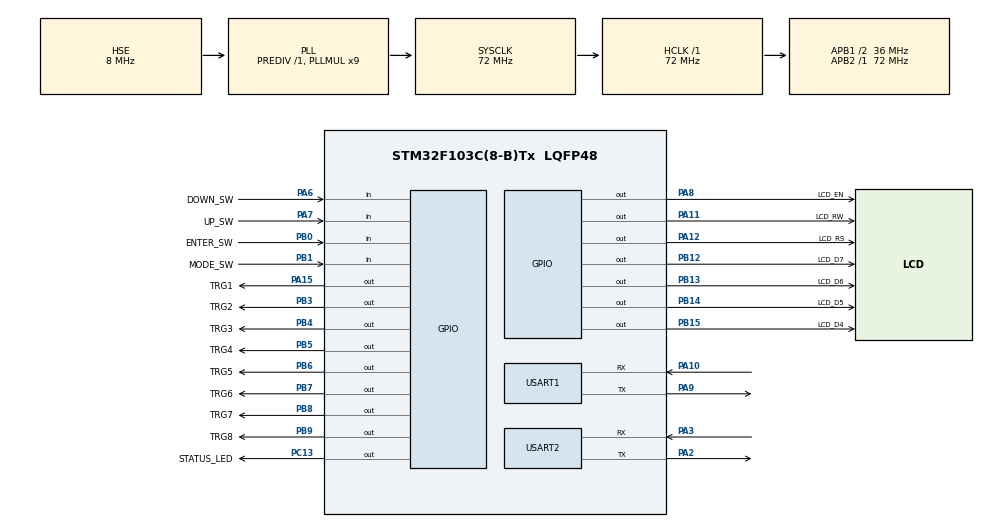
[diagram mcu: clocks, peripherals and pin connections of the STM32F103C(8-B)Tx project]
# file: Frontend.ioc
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FREERTOS.Queues01=keyQueue,16,uint8_t,0,Dynamic,NULL,NULL
FREERTOS.Tasks01=ApplicationTask,0,512,applicationTask,Default,NULL,Dynamic,NULL,NULL;seriaTask,-3,128,SerialTask,Default,NULL,Dynamic,NULL,NULL;KeyTask,-3,128,keyProc,Default,NULL,Dynamic,NULL,NULL
FREERTOS.Timers01=opLedTimer,opLedCb,osTimerPeriodic,Default,NULL,Dynamic,NULL
FREERTOS.configCHECK_FOR_STACK_OVERFLOW=2
FREERTOS.configMINIMAL_STACK_SIZE=128
FREERTOS.configTOTAL_HEAP_SIZE=10240
FREERTOS.configUSE_NEWLIB_REENTRANT=1
FREERTOS.configUSE_TIMERS=1
IWDG.Prescaler=IWDG_PRESCALER_16
Mcu.Family=STM32F1
Mcu.Name=STM32F103C(8-B)Tx
Mcu.Package=LQFP48
NVIC.PriorityGroup=NVIC_PRIORITYGROUP_4
NVIC.TIM4_IRQn=true\:15\:0\:false\:false\:true\:false\:false\:true\:true
NVIC.TimeBase=TIM4_IRQn
NVIC.TimeBaseIP=TIM4
NVIC.USART1_IRQn=true\:5\:0\:false\:false\:true\:true\:true\:true\:true
PA10.Mode=Asynchronous
PA10.Signal=USART1_RX
PA11.GPIO_Label=LCD_RW
PA11.Signal=GPIO_Output
PA12.GPIO_Label=LCD_RS
PA12.Signal=GPIO_Output
PA13.Mode=Serial_Wire
PA13.Signal=SYS_JTMS-SWDIO
PA14.Mode=Serial_Wire
PA14.Signal=SYS_JTCK-SWCLK
PA15.GPIO_Label=TRG1
PA15.Signal=GPIO_Output
PA2.Mode=Asynchronous
PA2.Signal=USART2_TX
PA3.Mode=Asynchronous
PA3.Signal=USART2_RX
PA6.GPIO_Label=DOWN_SW
PA6.Signal=GPIO_Input
PA7.GPIO_Label=UP_SW
PA7.Signal=GPIO_Input
PA8.GPIO_Label=LCD_EN
PA8.Signal=GPIO_Output
PA9.Mode=Asynchronous
PA9.Signal=USART1_TX
PB0.GPIO_Label=ENTER_SW
PB0.Signal=GPIO_Input
PB1.GPIO_Label=MODE_SW
PB1.Signal=GPIO_Input
PB12.GPIO_Label=LCD_D7
PB12.Signal=GPIO_Output
PB13.GPIO_Label=LCD_D6
PB13.Signal=GPIO_Output
PB14.GPIO_Label=LCD_D5
PB14.Signal=GPIO_Output
PB15.GPIO_Label=LCD_D4
PB15.Signal=GPIO_Output
PB3.GPIO_Label=TRG2
PB3.Signal=GPIO_Output
PB4.GPIO_Label=TRG3
PB4.Signal=GPIO_Output
PB5.GPIO_Label=TRG4
PB5.Signal=GPIO_Output
PB6.GPIO_Label=TRG5
PB6.Signal=GPIO_Output
PB7.GPIO_Label=TRG6
PB7.Signal=GPIO_Output
PB8.GPIO_Label=TRG7
PB8.Signal=GPIO_Output
PB9.GPIO_Label=TRG8
PB9.Signal=GPIO_Output
PC13-TAMPER-RTC.GPIO_Label=STATUS_LED
PC13-TAMPER-RTC.Signal=GPIO_Output
PD0-OSC_IN.Mode=HSE-External-Oscillator
PD0-OSC_IN.Signal=RCC_OSC_IN
PD1-OSC_OUT.Mode=HSE-External-Oscillator
PD1-OSC_OUT.Signal=RCC_OSC_OUT
ProjectManager.HeapSize=0x200
ProjectManager.StackSize=0x400
ProjectManager.TargetToolchain=STM32CubeIDE
RCC.AHBFreq_Value=72000000
RCC.APB1CLKDivider=RCC_HCLK_DIV2
RCC.APB1Freq_Value=36000000
RCC.APB1TimFreq_Value=72000000
RCC.APB2Freq_Value=72000000
RCC.APB2TimFreq_Value=72000000
RCC.HCLKFreq_Value=72000000
RCC.PLLMUL=RCC_PLL_MUL9
RCC.PLLSourceVirtual=RCC_PLLSOURCE_HSE
RCC.SYSCLKFreq_VALUE=72000000
RCC.SYSCLKSource=RCC_SYSCLKSOURCE_PLLCLK
RCC.USBFreq_Value=72000000
USART1.VirtualMode=VM_ASYNC
USART2.VirtualMode=VM_ASYNC
VP_FREERTOS_VS_CMSIS_V1.Mode=CMSIS_V1
VP_IWDG_VS_IWDG.Mode=IWDG_Activate
VP_SYS_VS_tim4.Mode=TIM4
board=custom

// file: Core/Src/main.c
/* USER CODE BEGIN Header */
/**
  ******************************************************************************
  * @file           : main.c
  * @brief          : Main program body
  ******************************************************************************
  * @attention
  *
  * Copyright (c) 2025 STMicroelectronics.
  * All rights reserved.
  *
  * This software is licensed under terms that can be found in the LICENSE file
  * in the root directory of this software component.
  * If no LICENSE file comes with this software, it is provided AS-IS.
  *
  ******************************************************************************
  */
/* USER CODE END Header */
#include "main.h"
#include "cmsis_os.h"

/* USER CODE BEGIN Includes */
#include "lcd.h"
#include "screen.h"
#include "trigger.h"
#include "uart.h"
#include "app_config.h"
/* USER CODE END Includes */

/* USER CODE BEGIN PTD */
typedef  void (*pFunction)(void);

/* USER CODE END PTD */

/* USER CODE BEGIN PD */
#define COMPUTE_BUILD_YEAR \
    ( \
        (__DATE__[ 7] - '0') * 1000 + \
        (__DATE__[ 8] - '0') *  100 + \
        (__DATE__[ 9] - '0') *   10 + \
        (__DATE__[10] - '0') \
    )

#define COMPUTE_BUILD_DAY \
    ( \
        ((__DATE__[4] >= '0') ? (__DATE__[4] - '0') * 10 : 0) + \
        (__DATE__[5] - '0') \
    )

#define BUILD_MONTH_IS_JAN (__DATE__[0] == 'J' && __DATE__[1] == 'a' && __DATE__[2] == 'n')
#define BUILD_MONTH_IS_FEB (__DATE__[0] == 'F')
#define BUILD_MONTH_IS_MAR (__DATE__[0] == 'M' && __DATE__[1] == 'a' && __DATE__[2] == 'r')
#define BUILD_MONTH_IS_APR (__DATE__[0] == 'A' && __DATE__[1] == 'p')
#define BUILD_MONTH_IS_MAY (__DATE__[0] == 'M' && __DATE__[1] == 'a' && __DATE__[2] == 'y')
#define BUILD_MONTH_IS_JUN (__DATE__[0] == 'J' && __DATE__[1] == 'u' && __DATE__[2] == 'n')
#define BUILD_MONTH_IS_JUL (__DATE__[0] == 'J' && __DATE__[1] == 'u' && __DATE__[2] == 'l')
#define BUILD_MONTH_IS_AUG (__DATE__[0] == 'A' && __DATE__[1] == 'u')
#define BUILD_MONTH_IS_SEP (__DATE__[0] == 'S')
#define BUILD_MONTH_IS_OCT (__DATE__[0] == 'O')
#define BUILD_MONTH_IS_NOV (__DATE__[0] == 'N')
#define BUILD_MONTH_IS_DEC (__DATE__[0] == 'D')

#define COMPUTE_BUILD_MONTH \
    ( \
        (BUILD_MONTH_IS_JAN) ?  1 : \
        (BUILD_MONTH_IS_FEB) ?  2 : \
        (BUILD_MONTH_IS_MAR) ?  3 : \
        (BUILD_MONTH_IS_APR) ?  4 : \
        (BUILD_MONTH_IS_MAY) ?  5 : \
        (BUILD_MONTH_IS_JUN) ?  6 : \
        (BUILD_MONTH_IS_JUL) ?  7 : \
        (BUILD_MONTH_IS_AUG) ?  8 : \
        (BUILD_MONTH_IS_SEP) ?  9 : \
        (BUILD_MONTH_IS_OCT) ? 10 : \
        (BUILD_MONTH_IS_NOV) ? 11 : \
        (BUILD_MONTH_IS_DEC) ? 12 : \
        /* error default */  99 \
    )

#define COMPUTE_BUILD_HOUR ((__TIME__[0] - '0') * 10 + __TIME__[1] - '0')
#define COMPUTE_BUILD_MIN  ((__TIME__[3] - '0') * 10 + __TIME__[4] - '0')
#define COMPUTE_BUILD_SEC  ((__TIME__[6] - '0') * 10 + __TIME__[7] - '0')

#define BUILD_DATE_IS_BAD (__DATE__[0] == '?')

#define BUILD_YEAR  ((BUILD_DATE_IS_BAD) ? 99 : COMPUTE_BUILD_YEAR)
#define BUILD_MONTH ((BUILD_DATE_IS_BAD) ? 99 : COMPUTE_BUILD_MONTH)
#define BUILD_DAY   ((BUILD_DATE_IS_BAD) ? 99 : COMPUTE_BUILD_DAY)

#define BUILD_TIME_IS_BAD (__TIME__[0] == '?')

#define BUILD_HOUR  ((BUILD_TIME_IS_BAD) ? 99 :  COMPUTE_BUILD_HOUR)
#define BUILD_MIN   ((BUILD_TIME_IS_BAD) ? 99 :  COMPUTE_BUILD_MIN)
#define BUILD_SEC   ((BUILD_TIME_IS_BAD) ? 99 :  COMPUTE_BUILD_SEC)

#define _VERSION_	"2.5.0"

#define OP_LED_TIMER_TICK	500

#define SYSTEMBOOT_ADDR		0x1FFFF000

#define	ENABLE_WATCHDOG	0
/* USER CODE END PD */

IWDG_HandleTypeDef hiwdg;

UART_HandleTypeDef huart1;
UART_HandleTypeDef huart2;

osThreadId ApplicationTaskHandle;
osThreadId seriaTaskHandle;
osThreadId KeyTaskHandle;
osMessageQId keyQueueHandle;
osTimerId opLedTimerHandle;

void SystemClock_Config(void);
static void MX_GPIO_Init(void);
//static void MX_IWDG_Init(void);
static void MX_USART1_UART_Init(void);
static void MX_USART2_UART_Init(void);
void applicationTask(void const * argument);
void SerialTask(void const * argument);
void keyProc(void const * argument);
void opLedCb(void const * argument);

/* USER CODE BEGIN 0 */
void JumpToBootloader(void)
{
	volatile uint32_t JumpAddress = *(__IO uint32_t*)(SYSTEMBOOT_ADDR+4);
	pFunction Jump_To_Application = (pFunction)JumpAddress;

    HAL_UART_DeInit(&huart2);
    HAL_UART_DeInit(&huart1);
    HAL_UART_MspDeInit(&huart2);
    HAL_UART_MspDeInit(&huart1);
    HAL_RCC_DeInit();

#if 0
    HAL_SuspendTick();
    HAL_DeInit();
#else
    SysTick->CTRL = 0;
    SysTick->LOAD = 0;
    SysTick->VAL = 0;
#endif
//    __disable_irq();

    __set_MSP(*(__IO uint32_t *)SYSTEMBOOT_ADDR);
    Jump_To_Application();
}

const char* get_model(void)
{
	return "MSV2008_Front panel";
}

static void banner(void)
{
	LOG_INF("======================================================");
	LOG_INF("\t YNS Vision LED Controller");
	LOG_INF("\t Build Data	: %04d-%02d-%02d %02d:%02d:%02d", BUILD_YEAR, BUILD_MONTH, BUILD_DAY,
			BUILD_HOUR, BUILD_MIN, BUILD_SEC);
	LOG_INF("\tModel		: %s", get_model());
	LOG_INF("\tVersion		: %s", _VERSION_);
	LOG_INF("======================================================");
}

static int Init_device(void)
{
	do{
		if(uart_init()){
			return -1;
		}
		app_config_init();

		if(apps_init()){
			return -1;
		}
		trigger_init();
	}while(0);

	return 0;
}

void vApplicationStackOverflowHook(TaskHandle_t xTask, char *pcTaskName) {
    LOG_DBG("Stack Overflow in Task: %s\n", pcTaskName);
}
/* USER CODE END 0 */

int main(void)
{

  /* MCU Configuration--------------------------------------------------------*/

  /* Reset of all peripherals, Initializes the Flash interface and the Systick. */
  HAL_Init();

  /* Configure the system clock */
  SystemClock_Config();

  /* Initialize all configured peripherals */
  MX_GPIO_Init();
  //MX_IWDG_Init();
  MX_USART1_UART_Init();
  MX_USART2_UART_Init();
  /* USER CODE BEGIN 2 */
  banner();
  Init_device();
  /* USER CODE END 2 */

  /* Create the timer(s) */
  /* definition and creation of opLedTimer */
  osTimerDef(opLedTimer, opLedCb);
  opLedTimerHandle = osTimerCreate(osTimer(opLedTimer), osTimerPeriodic, NULL);

  /* Create the queue(s) */
  /* definition and creation of keyQueue */
  osMessageQDef(keyQueue, 16, uint8_t);
  keyQueueHandle = osMessageCreate(osMessageQ(keyQueue), NULL);

  /* Create the thread(s) */
  /* definition and creation of ApplicationTask */
  osThreadDef(ApplicationTask, applicationTask, osPriorityNormal, 0, 512);
  ApplicationTaskHandle = osThreadCreate(osThread(ApplicationTask), NULL);

  /* definition and creation of seriaTask */
  osThreadDef(seriaTask, SerialTask, osPriorityIdle, 0, 256);
  seriaTaskHandle = osThreadCreate(osThread(seriaTask), NULL);

  /* definition and creation of KeyTask */
  osThreadDef(KeyTask, keyProc, osPriorityIdle, 0, 256);
  KeyTaskHandle = osThreadCreate(osThread(KeyTask), NULL);

  /* USER CODE BEGIN RTOS_THREADS */
  /* add threads, ... */
  if(ApplicationTaskHandle == NULL){
	  LOG_ERR("Event Task Create Error!!");
  }
  if(seriaTaskHandle == NULL){
	  LOG_ERR("Serial Task Create Error!!");
  }
  if(KeyTaskHandle == NULL){
	  LOG_ERR("Key Task Create Error!!");
  }

  /* USER CODE END RTOS_THREADS */

  /* Start scheduler */
  osKernelStart();

  /* We should never get here as control is now taken by the scheduler */

  /* Infinite loop */
  while (1)
  {

  }
}

void SystemClock_Config(void)
{
  RCC_OscInitTypeDef RCC_OscInitStruct = {0};
  RCC_ClkInitTypeDef RCC_ClkInitStruct = {0};

  /** Initializes the RCC Oscillators according to the specified parameters
  * in the RCC_OscInitTypeDef structure.
  */
  RCC_OscInitStruct.OscillatorType = RCC_OSCILLATORTYPE_LSI|RCC_OSCILLATORTYPE_HSE;
  RCC_OscInitStruct.HSEState = RCC_HSE_ON;
  RCC_OscInitStruct.HSEPredivValue = RCC_HSE_PREDIV_DIV1;
  RCC_OscInitStruct.HSIState = RCC_HSI_ON;
  RCC_OscInitStruct.LSIState = RCC_LSI_ON;
  RCC_OscInitStruct.PLL.PLLState = RCC_PLL_ON;
  RCC_OscInitStruct.PLL.PLLSource = RCC_PLLSOURCE_HSE;
  RCC_OscInitStruct.PLL.PLLMUL = RCC_PLL_MUL9;
  if (HAL_RCC_OscConfig(&RCC_OscInitStruct) != HAL_OK)
  {
    Error_Handler();
  }

  /** Initializes the CPU, AHB and APB buses clocks
  */
  RCC_ClkInitStruct.ClockType = RCC_CLOCKTYPE_HCLK|RCC_CLOCKTYPE_SYSCLK
                              |RCC_CLOCKTYPE_PCLK1|RCC_CLOCKTYPE_PCLK2;
  RCC_ClkInitStruct.SYSCLKSource = RCC_SYSCLKSOURCE_PLLCLK;
  RCC_ClkInitStruct.AHBCLKDivider = RCC_SYSCLK_DIV1;
  RCC_ClkInitStruct.APB1CLKDivider = RCC_HCLK_DIV2;
  RCC_ClkInitStruct.APB2CLKDivider = RCC_HCLK_DIV1;

  if (HAL_RCC_ClockConfig(&RCC_ClkInitStruct, FLASH_LATENCY_2) != HAL_OK)
  {
    Error_Handler();
  }
}

//static void MX_IWDG_Init(void)
//{
//
//  /* USER CODE BEGIN IWDG_Init 0 */
//
//  /* USER CODE END IWDG_Init 0 */
//
//  /* USER CODE BEGIN IWDG_Init 1 */
//
//  /* USER CODE END IWDG_Init 1 */
//  hiwdg.Instance = IWDG;
//  hiwdg.Init.Prescaler = IWDG_PRESCALER_16;
//  hiwdg.Init.Reload = 4095;
//  if (HAL_IWDG_Init(&hiwdg) != HAL_OK)
//  {
//    Error_Handler();
//  }
//  /* USER CODE BEGIN IWDG_Init 2 */
//
//  /* USER CODE END IWDG_Init 2 */
//
//}

static void MX_USART1_UART_Init(void)
{

  huart1.Instance = USART1;
  huart1.Init.BaudRate = 115200;
  huart1.Init.WordLength = UART_WORDLENGTH_8B;
  huart1.Init.StopBits = UART_STOPBITS_1;
  huart1.Init.Parity = UART_PARITY_NONE;
  huart1.Init.Mode = UART_MODE_TX_RX;
  huart1.Init.HwFlowCtl = UART_HWCONTROL_NONE;
  huart1.Init.OverSampling = UART_OVERSAMPLING_16;
  if (HAL_UART_Init(&huart1) != HAL_OK)
  {
    Error_Handler();
  }

}

static void MX_USART2_UART_Init(void)
{

  huart2.Instance = USART2;
  huart2.Init.BaudRate = 115200;
  huart2.Init.WordLength = UART_WORDLENGTH_8B;
  huart2.Init.StopBits = UART_STOPBITS_1;
  huart2.Init.Parity = UART_PARITY_NONE;
  huart2.Init.Mode = UART_MODE_TX_RX;
  huart2.Init.HwFlowCtl = UART_HWCONTROL_NONE;
  huart2.Init.OverSampling = UART_OVERSAMPLING_16;
  if (HAL_UART_Init(&huart2) != HAL_OK)
  {
    Error_Handler();
  }

}

static void MX_GPIO_Init(void)
{
  GPIO_InitTypeDef GPIO_InitStruct = {0};

  /* GPIO Ports Clock Enable */
  __HAL_RCC_GPIOC_CLK_ENABLE();
  __HAL_RCC_GPIOD_CLK_ENABLE();
  __HAL_RCC_GPIOA_CLK_ENABLE();
  __HAL_RCC_GPIOB_CLK_ENABLE();

  /*Configure GPIO pin Output Level */
  HAL_GPIO_WritePin(STATUS_LED_GPIO_Port, STATUS_LED_Pin, GPIO_PIN_RESET);

  /*Configure GPIO pin Output Level */
  HAL_GPIO_WritePin(GPIOB, LCD_D7_Pin|LCD_D6_Pin|LCD_D5_Pin|LCD_D4_Pin
                          |TRG2_Pin|TRG3_Pin|TRG4_Pin|TRG5_Pin
                          |TRG6_Pin|TRG7_Pin|TRG8_Pin, GPIO_PIN_RESET);

  /*Configure GPIO pin Output Level */
  HAL_GPIO_WritePin(GPIOA, LCD_EN_Pin|LCD_RW_Pin|LCD_RS_Pin|TRG1_Pin, GPIO_PIN_RESET);

  /*Configure GPIO pin : STATUS_LED_Pin */
  GPIO_InitStruct.Pin = STATUS_LED_Pin;
  GPIO_InitStruct.Mode = GPIO_MODE_OUTPUT_PP;
  GPIO_InitStruct.Pull = GPIO_NOPULL;
  GPIO_InitStruct.Speed = GPIO_SPEED_FREQ_LOW;
  HAL_GPIO_Init(STATUS_LED_GPIO_Port, &GPIO_InitStruct);

  /*Configure GPIO pins : DOWN_SW_Pin UP_SW_Pin */
  GPIO_InitStruct.Pin = DOWN_SW_Pin|UP_SW_Pin;
  GPIO_InitStruct.Mode = GPIO_MODE_INPUT;
  GPIO_InitStruct.Pull = GPIO_NOPULL;
  HAL_GPIO_Init(GPIOA, &GPIO_InitStruct);

  /*Configure GPIO pins : ENTER_SW_Pin MODE_SW_Pin */
  GPIO_InitStruct.Pin = ENTER_SW_Pin|MODE_SW_Pin;
  GPIO_InitStruct.Mode = GPIO_MODE_INPUT;
  GPIO_InitStruct.Pull = GPIO_NOPULL;
  HAL_GPIO_Init(GPIOB, &GPIO_InitStruct);

  /*Configure GPIO pins : LCD_D7_Pin LCD_D6_Pin LCD_D5_Pin LCD_D4_Pin
                           TRG2_Pin TRG3_Pin TRG4_Pin TRG5_Pin
                           TRG6_Pin TRG7_Pin TRG8_Pin */
  GPIO_InitStruct.Pin = LCD_D7_Pin|LCD_D6_Pin|LCD_D5_Pin|LCD_D4_Pin
                          |TRG2_Pin|TRG3_Pin|TRG4_Pin|TRG5_Pin
                          |TRG6_Pin|TRG7_Pin|TRG8_Pin;
  GPIO_InitStruct.Mode = GPIO_MODE_OUTPUT_PP;
  GPIO_InitStruct.Pull = GPIO_NOPULL;
  GPIO_InitStruct.Speed = GPIO_SPEED_FREQ_LOW;
  HAL_GPIO_Init(GPIOB, &GPIO_InitStruct);

  /*Configure GPIO pins : LCD_EN_Pin LCD_RW_Pin LCD_RS_Pin TRG1_Pin */
  GPIO_InitStruct.Pin = LCD_EN_Pin|LCD_RW_Pin|LCD_RS_Pin|TRG1_Pin;
  GPIO_InitStruct.Mode = GPIO_MODE_OUTPUT_PP;
  GPIO_InitStruct.Pull = GPIO_NOPULL;
  GPIO_InitStruct.Speed = GPIO_SPEED_FREQ_LOW;
  HAL_GPIO_Init(GPIOA, &GPIO_InitStruct);

}

void applicationTask(void const * argument)
{
  /* USER CODE BEGIN 5 */
  /* Infinite loop */
	//event_queue_observer_t main_evt;

	LOG_INF("Run Event Task");

	LCD_INIT();  // for osDelay

	screen_init();

	osTimerStart(opLedTimerHandle, OP_LED_TIMER_TICK);
  /* Infinite loop */
//	while(1){
//	osDelay(10);
//	}
	AppsTask();
  /* USER CODE END 5 */
}

void SerialTask(void const * argument)
{
  /* USER CODE BEGIN SerialTask */
	LOG_DBG("Run Serial Task");
  /* Infinite loop */
  for(;;)
  {
	  uart_task();
	  //osDelay(10);
  }
  /* USER CODE END SerialTask */
}

void keyProc(void const * argument)
{
  /* USER CODE BEGIN keyProc */
	LOG_DBG("Run Key Task");
//	UBaseType_t freeHeap = xPortGetFreeHeapSize();
//  LOG_DBG("Free Heap Size: %lu\n", freeHeap);
//
//  UBaseType_t minHeap = xPortGetMinimumEverFreeHeapSize();
//  LOG_DBG("Minimum Ever Free Heap Size: %lu bytes\n", minHeap);
  /* Infinite loop */
  for(;;)
  {
	  //osDelay(10);
	  key_handler();
  }
  /* USER CODE END keyProc */
}

/* opLedCb function */
void opLedCb(void const * argument)
{
  /* USER CODE BEGIN opLedCb */
	HAL_GPIO_TogglePin(STATUS_LED_GPIO_Port, STATUS_LED_Pin);
  /* USER CODE END opLedCb */
}

void HAL_TIM_PeriodElapsedCallback(TIM_HandleTypeDef *htim)
{
  if (htim->Instance == TIM4) {
    HAL_IncTick();
  }
}

void Error_Handler(void)
{
  __disable_irq();
  while (1)
  {
  }
}

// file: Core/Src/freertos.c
/* USER CODE BEGIN Header */
/**
  ******************************************************************************
  * File Name          : freertos.c
  * Description        : Code for freertos applications
  ******************************************************************************
  * @attention
  *
  * Copyright (c) 2025 STMicroelectronics.
  * All rights reserved.
  *
  * This software is licensed under terms that can be found in the LICENSE file
  * in the root directory of this software component.
  * If no LICENSE file comes with this software, it is provided AS-IS.
  *
  ******************************************************************************
  */
/* USER CODE END Header */

#include "FreeRTOS.h"
#include "task.h"
#include "main.h"

/* GetIdleTaskMemory prototype (linked to static allocation support) */
void vApplicationGetIdleTaskMemory( StaticTask_t **ppxIdleTaskTCBBuffer, StackType_t **ppxIdleTaskStackBuffer, uint32_t *pulIdleTaskStackSize );

/* GetTimerTaskMemory prototype (linked to static allocation support) */
void vApplicationGetTimerTaskMemory( StaticTask_t **ppxTimerTaskTCBBuffer, StackType_t **ppxTimerTaskStackBuffer, uint32_t *pulTimerTaskStackSize );

/* Hook prototypes */
void vApplicationStackOverflowHook(xTaskHandle xTask, signed char *pcTaskName);

/* USER CODE BEGIN 4 */
__weak void vApplicationStackOverflowHook(xTaskHandle xTask, signed char *pcTaskName)
{
   /* Run time stack overflow checking is performed if
   configCHECK_FOR_STACK_OVERFLOW is defined to 1 or 2. This hook function is
   called if a stack overflow is detected. */
}
/* USER CODE END 4 */

/* USER CODE BEGIN GET_IDLE_TASK_MEMORY */
static StaticTask_t xIdleTaskTCBBuffer;
static StackType_t xIdleStack[configMINIMAL_STACK_SIZE];

void vApplicationGetIdleTaskMemory( StaticTask_t **ppxIdleTaskTCBBuffer, StackType_t **ppxIdleTaskStackBuffer, uint32_t *pulIdleTaskStackSize )
{
  *ppxIdleTaskTCBBuffer = &xIdleTaskTCBBuffer;
  *ppxIdleTaskStackBuffer = &xIdleStack[0];
  *pulIdleTaskStackSize = configMINIMAL_STACK_SIZE;
  /* place for user code */
}
/* USER CODE END GET_IDLE_TASK_MEMORY */

/* USER CODE BEGIN GET_TIMER_TASK_MEMORY */
static StaticTask_t xTimerTaskTCBBuffer;
static StackType_t xTimerStack[configTIMER_TASK_STACK_DEPTH];

void vApplicationGetTimerTaskMemory( StaticTask_t **ppxTimerTaskTCBBuffer, StackType_t **ppxTimerTaskStackBuffer, uint32_t *pulTimerTaskStackSize )
{
  *ppxTimerTaskTCBBuffer = &xTimerTaskTCBBuffer;
  *ppxTimerTaskStackBuffer = &xTimerStack[0];
  *pulTimerTaskStackSize = configTIMER_TASK_STACK_DEPTH;
  /* place for user code */
}
/* USER CODE END GET_TIMER_TASK_MEMORY */
